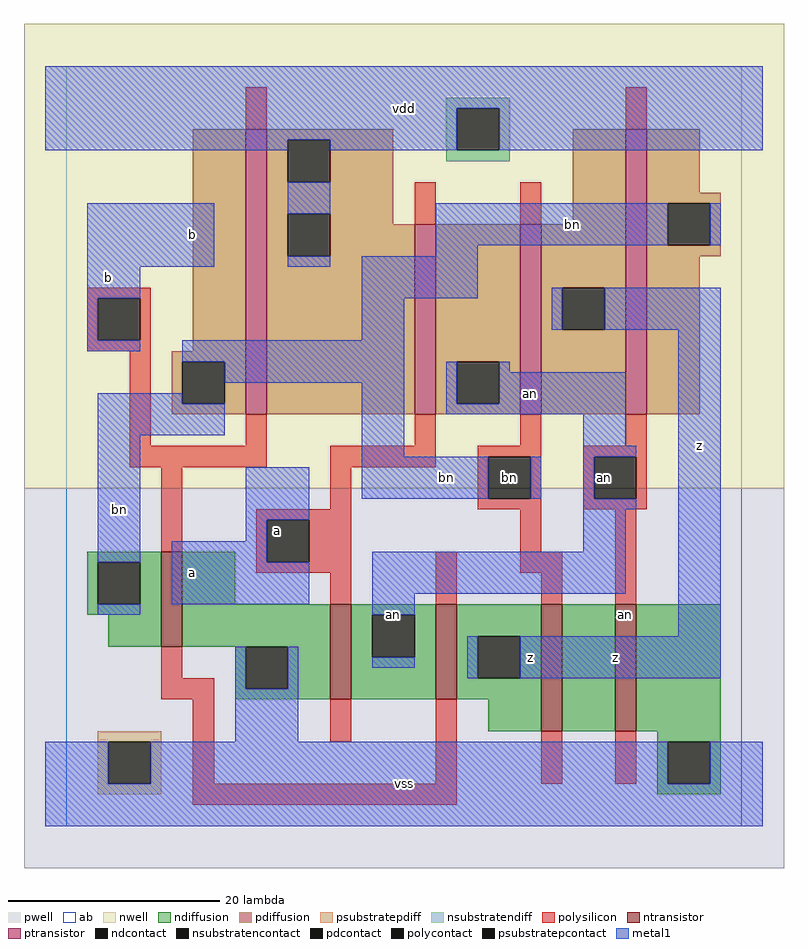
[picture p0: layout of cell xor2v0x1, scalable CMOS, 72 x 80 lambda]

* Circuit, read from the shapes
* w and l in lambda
.subckt xor2v0x1 a an b bn vdd vss z
M1 vss b bn vss nfet w=9 l=2
M2 an a vss vss nfet w=9 l=2
M3 z b an vss nfet w=9 l=2
M4 n1 bn z vss nfet w=12 l=2
M5 vss an n1 vss nfet w=12 l=2
M6 vdd b bn vdd pfet w=27 l=2
M7 an a vdd vdd pfet w=18 l=2
M8 z bn an vdd pfet w=18 l=2
M9 bn an z vdd pfet w=27 l=2
.ends

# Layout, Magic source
magic
tech scmos
<< ab >>
rect 0 0 64 72
<< pwell >>
rect -4 -4 68 32
<< nwell >>
rect -4 32 68 76
<< polysilicon >>
rect 17 66 19 70
rect 2 50 8 51
rect 2 46 3 50
rect 7 46 8 50
rect 2 45 8 46
rect 6 36 8 45
rect 53 66 55 70
rect 33 57 35 61
rect 43 57 45 61
rect 17 36 19 39
rect 33 36 35 39
rect 43 36 45 39
rect 53 36 55 39
rect 6 34 19 36
rect 25 34 35 36
rect 39 35 45 36
rect 9 26 11 34
rect 25 30 27 34
rect 39 31 40 35
rect 44 31 45 35
rect 39 30 45 31
rect 49 35 55 36
rect 49 31 50 35
rect 54 31 55 35
rect 49 30 55 31
rect 18 29 27 30
rect 18 25 19 29
rect 23 25 27 29
rect 43 26 45 30
rect 18 24 27 25
rect 25 21 27 24
rect 35 21 37 26
rect 43 24 47 26
rect 45 21 47 24
rect 52 21 54 30
rect 9 14 11 17
rect 9 12 14 14
rect 12 4 14 12
rect 25 8 27 12
rect 35 4 37 12
rect 45 4 47 9
rect 52 4 54 9
rect 12 2 37 4
<< ndiffusion >>
rect 2 25 9 26
rect 2 21 3 25
rect 7 21 9 25
rect 2 20 9 21
rect 4 17 9 20
rect 11 21 16 26
rect 11 17 25 21
rect 16 13 17 17
rect 21 13 25 17
rect 16 12 25 13
rect 27 20 35 21
rect 27 16 29 20
rect 33 16 35 20
rect 27 12 35 16
rect 37 18 45 21
rect 37 14 39 18
rect 43 14 45 18
rect 37 12 45 14
rect 40 9 45 12
rect 47 9 52 21
rect 54 9 62 21
rect 56 8 62 9
rect 56 4 57 8
rect 61 4 62 8
rect 56 3 62 4
<< pdiffusion >>
rect 12 45 17 66
rect 10 44 17 45
rect 10 40 11 44
rect 15 40 17 44
rect 10 39 17 40
rect 19 65 31 66
rect 19 61 21 65
rect 25 61 31 65
rect 19 58 31 61
rect 19 54 21 58
rect 25 57 31 58
rect 48 57 53 66
rect 25 54 33 57
rect 19 39 33 54
rect 35 44 43 57
rect 35 40 37 44
rect 41 40 43 44
rect 35 39 43 40
rect 45 51 53 57
rect 45 47 47 51
rect 51 47 53 51
rect 45 39 53 47
rect 55 60 60 66
rect 55 59 62 60
rect 55 55 57 59
rect 61 55 62 59
rect 55 54 62 55
rect 55 39 60 54
<< metal1 >>
rect -2 68 66 72
rect -2 65 37 68
rect -2 64 21 65
rect 25 64 37 65
rect 41 64 66 68
rect 2 53 14 59
rect 21 58 25 61
rect 35 55 57 59
rect 61 55 62 59
rect 35 54 39 55
rect 21 53 25 54
rect 2 50 7 53
rect 2 46 3 50
rect 28 50 39 54
rect 28 46 32 50
rect 46 47 47 51
rect 51 47 62 51
rect 2 45 7 46
rect 11 44 32 46
rect 3 40 11 41
rect 15 42 32 44
rect 3 37 15 40
rect 3 25 7 37
rect 28 35 32 42
rect 36 40 37 44
rect 41 43 42 44
rect 41 40 53 43
rect 36 39 53 40
rect 49 36 53 39
rect 49 35 54 36
rect 17 29 23 34
rect 28 31 40 35
rect 44 31 45 35
rect 49 31 50 35
rect 17 27 19 29
rect 10 25 19 27
rect 49 30 54 31
rect 49 26 53 30
rect 10 21 23 25
rect 29 22 53 26
rect 3 20 7 21
rect 29 20 33 22
rect 16 13 17 17
rect 21 13 22 17
rect 58 18 62 47
rect 29 15 33 16
rect 38 14 39 18
rect 43 14 62 18
rect 16 8 22 13
rect -2 4 4 8
rect 8 4 57 8
rect 61 4 66 8
rect -2 0 66 4
<< ntransistor >>
rect 9 17 11 26
rect 25 12 27 21
rect 35 12 37 21
rect 45 9 47 21
rect 52 9 54 21
<< ptransistor >>
rect 17 39 19 66
rect 33 39 35 57
rect 43 39 45 57
rect 53 39 55 66
<< polycontact >>
rect 3 46 7 50
rect 40 31 44 35
rect 50 31 54 35
rect 19 25 23 29
<< ndcontact >>
rect 3 21 7 25
rect 17 13 21 17
rect 29 16 33 20
rect 39 14 43 18
rect 57 4 61 8
<< pdcontact >>
rect 11 40 15 44
rect 21 61 25 65
rect 21 54 25 58
rect 37 40 41 44
rect 47 47 51 51
rect 57 55 61 59
<< psubstratepcontact >>
rect 4 4 8 8
<< nsubstratencontact >>
rect 37 64 41 68
<< psubstratepdiff >>
rect 3 8 9 9
rect 3 4 4 8
rect 8 4 9 8
rect 3 3 9 4
<< nsubstratendiff >>
rect 36 68 42 69
rect 36 64 37 68
rect 41 64 42 68
rect 36 63 42 64
<< labels >>
rlabel polycontact 42 33 42 33 6 bn
rlabel ntransistor 53 20 53 20 6 an
rlabel metal1 12 24 12 24 6 a
rlabel metal1 5 30 5 30 6 bn
rlabel metal1 4 52 4 52 6 b
rlabel metal1 12 56 12 56 6 b
rlabel polycontact 20 28 20 28 6 a
rlabel metal1 32 4 32 4 6 vss
rlabel metal1 44 16 44 16 6 z
rlabel metal1 31 20 31 20 6 an
rlabel metal1 36 33 36 33 6 bn
rlabel metal1 32 68 32 68 6 vdd
rlabel metal1 52 16 52 16 6 z
rlabel metal1 60 36 60 36 6 z
rlabel polycontact 51 33 51 33 6 an
rlabel metal1 44 41 44 41 6 an
rlabel metal1 48 57 48 57 6 bn
<< end >>
